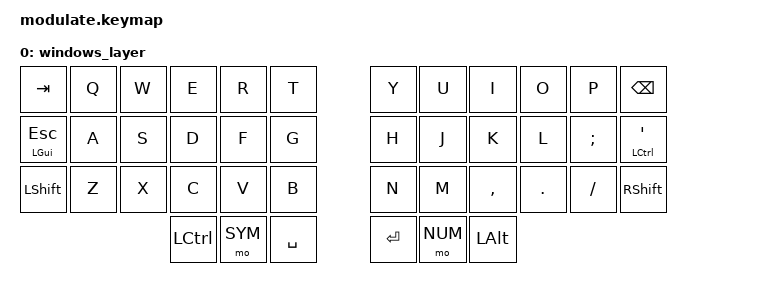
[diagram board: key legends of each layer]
#include <behaviors.dtsi>
#include <dt-bindings/zmk/keys.h>
#include <dt-bindings/zmk/bt.h>

/ {
    keymap {
        compatible = "zmk,keymap";

        windows_layer {
            bindings = <
                &kp TAB       &kp Q  &kp W  &kp E      &kp R    &kp T        &kp Y    &kp U    &kp I      &kp O    &kp P     &kp BSPC
                &mt LGUI ESC  &kp A  &kp S  &kp D      &kp F    &kp G        &kp H    &kp J    &kp K      &kp L    &kp SEMI  &mt LCTRL SQT
                &kp LSHFT     &kp Z  &kp X  &kp C      &kp V    &kp B        &kp N    &kp M    &kp COMMA  &kp DOT  &kp FSLH  &kp RSHFT
                                    &kp LCTRL  &mo SYM  &kp SPACE    &kp RET  &mo NUM  &kp LALT
            >;
        };
    };
};
